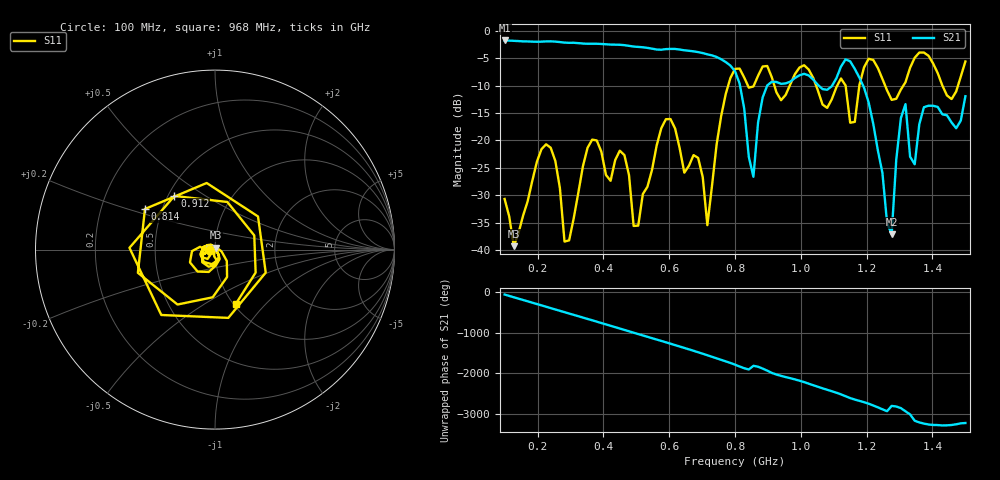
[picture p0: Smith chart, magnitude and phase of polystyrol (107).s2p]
! NanoVNA-App
! Date: 2025-09-26 09:42:43
! Start: 100MHz Stop: 1,5GHz Points: 101
! S-Parameter data: F S11 S21 S12 S22
# Hz S RI R 50
!  Frequency  S11_Real  S11_Imag  S21_Real  S21_Imag  S12_Real  S12_Imag  S22_Real  S22_Imag
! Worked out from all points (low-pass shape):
!   101 points, 100 MHz to 1.5 GHz, reference 50 ohm
!   highest |S21| = -1.79 dB at 100 MHz (marker M1); lowest = -37.1 dB at 1.276 GHz (marker M2)
!   |S21| within 3 dB of the highest: start of sweep to 743.7 MHz
!   lowest |S11| = -39.3 dB at 128 MHz (marker M3), VSWR 1.02, Z = 50.3 + j1.06 ohm
!   |S11| at or under -10 dB: start of sweep to 779.3 MHz; 1.046 GHz to 1.111 GHz (64.46 MHz wide, 5.98 % of centre); 1.256 GHz to 1.312 GHz (55.58 MHz wide, 4.33 % of centre) (the widest 3 of 7)
!   S12 and S22 are empty: the file has one direction only
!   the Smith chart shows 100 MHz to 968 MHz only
!   S11 on the Smith chart (normalised r, x): 100 MHz: 0.94, -0.01; 814 MHz: 0.40, +0.23; 912 MHz: 0.54, +0.38; 968 MHz: 1.02, -0.69
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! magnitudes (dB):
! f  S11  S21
! 100 MHz  -30.7  -1.8
! 128 MHz  -39.3  -1.9
! 212 MHz  -21.6  -2.0
! 282 MHz  -38.4  -2.2
! 338 MHz  -24.7  -2.4
! 464 MHz  -22.7  -2.6
! 506 MHz  -35.5  -3.0
! 576 MHz  -17.8  -3.5
! 688 MHz  -23.2  -3.9
! 716 MHz  -35.4  -4.3
! 800 MHz  -7.0  -7.4
! 814 MHz  -6.9  -9.6
! 856 MHz  -10.2  -26.6
! 912 MHz  -8.5  -9.3
! 968 MHz  -9.8  -9.3
! 1.038 GHz  -8.7  -8.9
! 1.178 GHz  -9.9  -8.6
! 1.276 GHz  -12.6  -37.1
! 1.318 GHz  -9.4  -13.4
! 1.346 GHz  -4.9  -24.3
! 1.374 GHz  -4.0  -13.9
! 1.5 GHz  -5.6  -11.9
